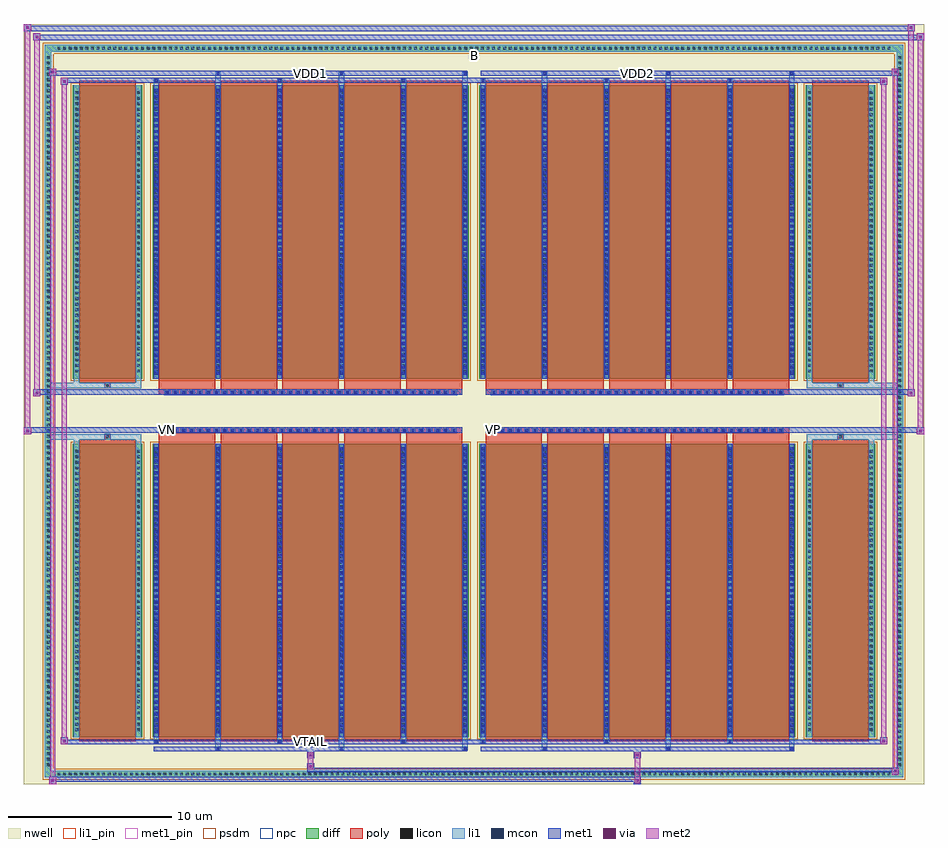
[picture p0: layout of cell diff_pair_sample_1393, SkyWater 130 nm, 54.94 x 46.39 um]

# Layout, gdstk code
import gdstk
lib = gdstk.Library(unit=1e-6, precision=5e-09)
def R(c, l, rs):  # rectangles x0, y0, x1, y1
    for r in rs: c.add(gdstk.rectangle(r[:2], r[2:], *l))
def A(c, l, x, y, w, h, nx, ny, dx, dy):  # array of equal rectangles
    R(c, l, [(x+i*dx, y+j*dy, x+i*dx+w, y+j*dy+h) for i in range(nx) for j in range(ny)])
def P(c, l, *ps):  # polygons
    for p in ps: c.add(gdstk.Polygon(p, *l))
nwell = (64, 20)
diff = (65, 20)
poly = (66, 20)
licon = (66, 44)
li1_pin = (67, 16)
li1 = (67, 20)
mcon = (67, 44)
met1_pin = (68, 16)
met1 = (68, 20)
via = (68, 44)
met2 = (69, 20)
psdm = (94, 20)
npc = (95, 20)

diff_pair_sample_1393 = lib.new_cell('diff_pair_sample_1393')
R(diff_pair_sample_1393, nwell, [(-27.47,-22.76,27.47,23.63), (-24.79,-20.95,-0.01,-0.795), (0.01,-20.95,24.79,-0.795), (-24.79,0.795,-0.01,20.95), (0.01,0.795,24.79,20.95)])
A(diff_pair_sample_1393, diff, -25.535, -22.36, 0.41, 0.41, 150, 2, 0.34, 44.31)
A(diff_pair_sample_1393, diff, -26.2, -21.795, 0.41, 0.41, 1, 128, 0, 0.34)
A(diff_pair_sample_1393, diff, 25.79, -21.795, 0.41, 0.41, 1, 128, 0, 0.34)
R(diff_pair_sample_1393, diff, [(-25.535,-22.36,25.535,-21.95), (-26.2,-21.795,-25.79,21.795), (25.79,-21.795,26.2,21.795), (-24.48,-19.905,-20.26,-1.985), (-19.62,-19.905,-0.32,-1.985), (0.32,-19.905,19.62,-1.985), (20.26,-19.905,24.48,-1.985), (-24.48,1.985,-20.26,19.905), (-19.62,1.985,-0.32,19.905), (0.32,1.985,19.62,19.905), (20.26,1.985,24.48,19.905), (-25.535,21.95,25.535,22.36)])
P(diff_pair_sample_1393, diff, [(26.2,22.36),(-26.2,22.36),(-26.2,-21.95),(-25.79,-21.95),(-25.79,21.95),(25.79,21.95),(25.79,-21.95),(-25.79,-21.95),(-26.2,-21.95),(-26.2,-22.36),(26.2,-22.36)])
A(diff_pair_sample_1393, poly, -19.23, -20.155, 3.44, 18.42, 5, 2, 3.77, 21.89)
A(diff_pair_sample_1393, poly, 0.71, -20.155, 3.44, 18.42, 5, 2, 3.77, 21.89)
A(diff_pair_sample_1393, poly, -19.23, -1.735, 3.44, 0.41, 5, 2, 3.77, 3.06)
A(diff_pair_sample_1393, poly, 0.71, -1.735, 3.44, 0.41, 5, 2, 3.77, 3.06)
A(diff_pair_sample_1393, poly, -18.885, -1.325, 0.33, 0.33, 36, 2, 0.5, 2.32)
A(diff_pair_sample_1393, poly, 1.055, -1.325, 0.33, 0.33, 36, 2, 0.5, 2.32)
R(diff_pair_sample_1393, poly, [(-24.09,-20.155,-20.65,-1.735), (20.65,-20.155,24.09,-1.735), (-22.535,-1.735,-22.205,-1.405), (-22.535,-1.735,-22.205,-1.405), (22.205,-1.735,22.535,-1.405), (22.205,-1.735,22.535,-1.405), (-19.23,-1.325,-0.71,-0.995), (0.71,-1.325,19.23,-0.995), (-19.23,0.995,-0.71,1.325), (0.71,0.995,19.23,1.325), (-22.535,1.405,-22.205,1.735), (-22.535,1.405,-22.205,1.735), (22.205,1.405,22.535,1.735), (22.205,1.405,22.535,1.735), (-24.09,1.735,-20.65,20.155), (20.65,1.735,24.09,20.155)])
A(diff_pair_sample_1393, licon, -25.415, -22.24, 0.17, 0.17, 150, 2, 0.34, 44.31)
A(diff_pair_sample_1393, licon, -26.08, -21.675, 0.17, 0.17, 1, 128, 0, 0.34)
A(diff_pair_sample_1393, licon, 25.91, -21.675, 0.17, 0.17, 1, 128, 0, 0.34)
A(diff_pair_sample_1393, licon, -24.34, -19.53, 0.17, 0.17, 1, 51, 0, 0.34)
A(diff_pair_sample_1393, licon, -20.57, -19.53, 0.17, 0.17, 1, 51, 0, 0.34)
A(diff_pair_sample_1393, licon, -19.48, -19.53, 0.17, 0.17, 6, 51, 3.77, 0.34)
A(diff_pair_sample_1393, licon, 0.46, -19.53, 0.17, 0.17, 6, 51, 3.77, 0.34)
A(diff_pair_sample_1393, licon, 20.4, -19.53, 0.17, 0.17, 1, 51, 0, 0.34)
A(diff_pair_sample_1393, licon, 24.17, -19.53, 0.17, 0.17, 1, 51, 0, 0.34)
A(diff_pair_sample_1393, licon, -18.805, -1.245, 0.17, 0.17, 36, 2, 0.5, 2.32)
A(diff_pair_sample_1393, licon, 1.135, -1.245, 0.17, 0.17, 36, 2, 0.5, 2.32)
A(diff_pair_sample_1393, licon, -24.34, 2.36, 0.17, 0.17, 1, 51, 0, 0.34)
A(diff_pair_sample_1393, licon, -20.57, 2.36, 0.17, 0.17, 1, 51, 0, 0.34)
A(diff_pair_sample_1393, licon, -19.48, 2.36, 0.17, 0.17, 6, 51, 3.77, 0.34)
A(diff_pair_sample_1393, licon, 0.46, 2.36, 0.17, 0.17, 6, 51, 3.77, 0.34)
A(diff_pair_sample_1393, licon, 20.4, 2.36, 0.17, 0.17, 1, 51, 0, 0.34)
A(diff_pair_sample_1393, licon, 24.17, 2.36, 0.17, 0.17, 1, 51, 0, 0.34)
R(diff_pair_sample_1393, licon, [(-22.455,-1.655,-22.285,-1.485), (22.285,-1.655,22.455,-1.485), (-22.455,1.485,-22.285,1.655), (22.285,1.485,22.455,1.655)])
R(diff_pair_sample_1393, li1_pin, [(-0.25,21.45,0.25,21.95)])
A(diff_pair_sample_1393, li1, -25.495, -22.32, 0.33, 0.33, 150, 2, 0.34, 44.31)
A(diff_pair_sample_1393, li1, -26.16, -21.755, 0.33, 0.33, 1, 128, 0, 0.34)
A(diff_pair_sample_1393, li1, 25.83, -21.755, 0.33, 0.33, 1, 128, 0, 0.34)
A(diff_pair_sample_1393, li1, -15.79, -20.71, 0.33, 0.805, 3, 2, 7.54, 40.615)
A(diff_pair_sample_1393, li1, -15.71, -20.71, 0.17, 0.17, 3, 2, 7.54, 41.25)
A(diff_pair_sample_1393, li1, 4.15, -20.71, 0.33, 0.805, 3, 2, 7.54, 40.615)
A(diff_pair_sample_1393, li1, 4.23, -20.71, 0.17, 0.17, 3, 2, 7.54, 41.25)
A(diff_pair_sample_1393, li1, -19.56, -20.28, 0.33, 0.375, 3, 2, 7.54, 40.185)
A(diff_pair_sample_1393, li1, -19.48, -20.28, 0.17, 0.17, 3, 2, 7.54, 40.39)
A(diff_pair_sample_1393, li1, 0.38, -20.28, 0.33, 0.375, 3, 2, 7.54, 40.185)
A(diff_pair_sample_1393, li1, 0.46, -20.28, 0.17, 0.17, 3, 2, 7.54, 40.39)
A(diff_pair_sample_1393, li1, -19.56, -19.905, 0.33, 17.92, 6, 2, 3.77, 21.89)
A(diff_pair_sample_1393, li1, 0.38, -19.905, 0.33, 17.92, 6, 2, 3.77, 21.89)
A(diff_pair_sample_1393, li1, -19.48, -19.67, 0.17, 0.17, 6, 49, 3.77, 0.36)
A(diff_pair_sample_1393, li1, -19.48, -19.67, 0.17, 17.45, 6, 2, 3.77, 21.89)
A(diff_pair_sample_1393, li1, 0.46, -19.67, 0.17, 0.17, 6, 49, 3.77, 0.36)
A(diff_pair_sample_1393, li1, 0.46, -19.67, 0.17, 17.45, 6, 2, 3.77, 21.89)
A(diff_pair_sample_1393, li1, -24.42, -19.61, 0.33, 0.33, 1, 51, 0, 0.34)
A(diff_pair_sample_1393, li1, -20.65, -19.61, 0.33, 0.33, 1, 51, 0, 0.34)
A(diff_pair_sample_1393, li1, -19.56, -19.61, 0.33, 0.33, 6, 51, 3.77, 0.34)
A(diff_pair_sample_1393, li1, 0.38, -19.61, 0.33, 0.33, 6, 51, 3.77, 0.34)
A(diff_pair_sample_1393, li1, 20.32, -19.61, 0.33, 0.33, 1, 51, 0, 0.34)
A(diff_pair_sample_1393, li1, 24.09, -19.61, 0.33, 0.33, 1, 51, 0, 0.34)
A(diff_pair_sample_1393, li1, -18.885, -1.325, 0.33, 0.33, 36, 2, 0.5, 2.32)
A(diff_pair_sample_1393, li1, 1.055, -1.325, 0.33, 0.33, 36, 2, 0.5, 2.32)
A(diff_pair_sample_1393, li1, -19.48, 2.22, 0.17, 0.17, 6, 49, 3.77, 0.36)
A(diff_pair_sample_1393, li1, 0.46, 2.22, 0.17, 0.17, 6, 49, 3.77, 0.36)
A(diff_pair_sample_1393, li1, -24.42, 2.28, 0.33, 0.33, 1, 51, 0, 0.34)
A(diff_pair_sample_1393, li1, -20.65, 2.28, 0.33, 0.33, 1, 51, 0, 0.34)
A(diff_pair_sample_1393, li1, -19.56, 2.28, 0.33, 0.33, 6, 51, 3.77, 0.34)
A(diff_pair_sample_1393, li1, 0.38, 2.28, 0.33, 0.33, 6, 51, 3.77, 0.34)
A(diff_pair_sample_1393, li1, 20.32, 2.28, 0.33, 0.33, 1, 51, 0, 0.34)
A(diff_pair_sample_1393, li1, 24.09, 2.28, 0.33, 0.33, 1, 51, 0, 0.34)
R(diff_pair_sample_1393, li1, [(-26.2,-22.36,-25.79,-21.95), (-26.2,-22.36,-25.79,-21.95), (-25.79,-22.36,25.79,-21.95), (25.79,-22.36,26.2,-21.95), (25.79,-22.36,26.2,-21.95), (-26.2,-21.95,-25.79,21.95), (25.79,-21.95,26.2,21.95), (-24.42,-19.905,-24.09,-1.985), (-20.65,-19.905,-20.32,-1.985), (20.32,-19.905,20.65,-1.985), (24.09,-19.905,24.42,-1.985), (-24.42,-1.985,-24.09,-1.405), (-20.65,-1.985,-20.32,-1.405), (20.32,-1.985,20.65,-1.405), (24.09,-1.985,24.42,-1.405), (-26.2,-1.735,-22.535,-1.405), (-24.42,-1.735,-22.535,-1.405), (-22.535,-1.735,-22.205,-1.405), (-22.205,-1.735,-20.32,-1.405), (20.32,-1.735,22.205,-1.405), (22.205,-1.735,22.535,-1.405), (22.205,-1.735,26.2,-1.405), (22.535,-1.735,24.42,-1.405), (-26.2,1.405,-22.535,1.735), (-24.42,1.405,-22.535,1.735), (-24.42,1.405,-24.09,1.985), (-22.535,1.405,-22.205,1.735), (-22.205,1.405,-20.32,1.735), (-20.65,1.405,-20.32,1.985), (20.32,1.405,22.205,1.735), (20.32,1.405,20.65,1.985), (22.205,1.405,22.535,1.735), (22.205,1.405,26.2,1.735), (22.535,1.405,24.42,1.735), (24.09,1.405,24.42,1.985), (-24.42,1.985,-24.09,19.905), (-20.65,1.985,-20.32,19.905), (20.32,1.985,20.65,19.905), (24.09,1.985,24.42,19.905), (-26.2,21.95,-25.79,22.36), (-26.2,21.95,-25.79,22.36), (-25.79,21.95,25.79,22.36), (25.79,21.95,26.2,22.36), (25.79,21.95,26.2,22.36)])
A(diff_pair_sample_1393, mcon, -15.71, -20.71, 0.17, 0.17, 3, 2, 7.54, 41.25)
A(diff_pair_sample_1393, mcon, 4.23, -20.71, 0.17, 0.17, 3, 2, 7.54, 41.25)
A(diff_pair_sample_1393, mcon, -19.48, -20.28, 0.17, 0.17, 3, 2, 7.54, 40.39)
A(diff_pair_sample_1393, mcon, 0.46, -20.28, 0.17, 0.17, 3, 2, 7.54, 40.39)
A(diff_pair_sample_1393, mcon, -19.48, -19.67, 0.17, 0.17, 6, 49, 3.77, 0.36)
A(diff_pair_sample_1393, mcon, 0.46, -19.67, 0.17, 0.17, 6, 49, 3.77, 0.36)
A(diff_pair_sample_1393, mcon, -18.805, -1.245, 0.17, 0.17, 36, 2, 0.5, 2.32)
A(diff_pair_sample_1393, mcon, 1.135, -1.245, 0.17, 0.17, 36, 2, 0.5, 2.32)
A(diff_pair_sample_1393, mcon, -19.48, 2.22, 0.17, 0.17, 6, 49, 3.77, 0.36)
A(diff_pair_sample_1393, mcon, 0.46, 2.22, 0.17, 0.17, 6, 49, 3.77, 0.36)
R(diff_pair_sample_1393, met1_pin, [(-10.105,-20.32,-9.835,-20.05), (-18.855,-1.285,-18.585,-1.015), (1.085,-1.285,1.355,-1.015), (-10.105,20.5,-9.835,20.77), (9.835,20.5,10.105,20.77)])
A(diff_pair_sample_1393, met1, -15.77, -20.77, 0.29, 0.29, 3, 2, 7.54, 41.25)
A(diff_pair_sample_1393, met1, 4.17, -20.77, 0.29, 0.29, 3, 2, 7.54, 41.25)
A(diff_pair_sample_1393, met1, -19.54, -20.34, 0.29, 0.29, 3, 2, 7.54, 40.39)
A(diff_pair_sample_1393, met1, 0.4, -20.34, 0.29, 0.29, 3, 2, 7.54, 40.39)
A(diff_pair_sample_1393, met1, -19.54, -19.905, 0.29, 17.92, 6, 2, 3.77, 21.89)
A(diff_pair_sample_1393, met1, 0.4, -19.905, 0.29, 17.92, 6, 2, 3.77, 21.89)
A(diff_pair_sample_1393, met1, -19.54, -19.73, 0.29, 0.29, 6, 49, 3.77, 0.36)
A(diff_pair_sample_1393, met1, 0.4, -19.73, 0.29, 0.29, 6, 49, 3.77, 0.36)
A(diff_pair_sample_1393, met1, -18.865, -1.305, 0.29, 0.29, 36, 2, 0.5, 2.32)
A(diff_pair_sample_1393, met1, 1.075, -1.305, 0.29, 0.29, 36, 2, 0.5, 2.32)
A(diff_pair_sample_1393, met1, -19.54, 2.16, 0.29, 0.29, 6, 49, 3.77, 0.36)
A(diff_pair_sample_1393, met1, 0.4, 2.16, 0.29, 0.29, 6, 49, 3.77, 0.36)
R(diff_pair_sample_1393, met1, [(-25.93,-22.76,-25.5,-22.33), (9.755,-22.76,10.185,-22.33), (-25.93,-22.62,10.185,-22.33), (25.5,-22.19,25.93,-21.76), (-10.185,-22.05,25.93,-21.76), (-10.185,-21.91,-9.755,-21.48), (-10.185,-21.2,-9.755,-20.77), (9.755,-21.2,10.185,-20.77), (-19.54,-20.77,-0.4,-20.48), (0.4,-20.77,19.54,-20.48), (-25.22,-20.34,-24.79,-19.91), (-25.22,-20.34,-19.54,-20.05), (-19.54,-20.34,-0.4,-20.05), (-0.4,-20.34,0.4,-20.05), (0.4,-20.34,19.54,-20.05), (19.54,-20.34,25.22,-20.05), (24.79,-20.34,25.22,-19.91), (-27.47,-1.425,-27.04,-0.995), (27.04,-1.425,27.47,-0.995), (-27.47,-1.325,-0.71,-0.995), (-19.23,-1.325,-0.71,-0.995), (0.71,-1.325,19.23,-0.995), (0.71,-1.325,27.47,-0.995), (-26.9,0.895,-26.47,1.325), (26.47,0.895,26.9,1.325), (-26.9,0.995,-19.23,1.325), (-19.23,0.995,-0.71,1.325), (0.71,0.995,19.23,1.325), (19.23,0.995,26.9,1.325), (-25.22,19.91,-24.79,20.34), (24.79,19.91,25.22,20.34), (-25.22,20.05,-19.54,20.34), (-19.54,20.05,-0.4,20.34), (-0.4,20.05,0.4,20.34), (0.4,20.05,19.54,20.34), (19.54,20.05,25.22,20.34), (-25.93,20.48,-25.5,20.91), (-25.93,20.48,-19.54,20.77), (-19.54,20.48,-0.4,20.77), (0.4,20.48,19.54,20.77), (19.54,20.48,25.93,20.77), (25.5,20.48,25.93,20.91), (-26.9,22.63,-26.47,23.06), (-26.9,22.63,-24.79,22.96), (-24.79,22.63,24.79,22.96), (24.79,22.63,27.47,22.96), (27.04,22.63,27.47,23.06), (-27.47,23.2,-27.04,23.63), (-27.47,23.2,-24.79,23.53), (-24.79,23.2,24.79,23.53), (24.79,23.2,26.9,23.53), (26.47,23.2,26.9,23.63)])
R(diff_pair_sample_1393, via, [(-25.79,-22.62,-25.64,-22.47), (9.895,-22.62,10.045,-22.47), (25.64,-22.05,25.79,-21.9), (-10.045,-21.77,-9.895,-21.62), (-10.045,-21.06,-9.895,-20.91), (9.895,-21.06,10.045,-20.91), (-25.08,-20.2,-24.93,-20.05), (24.93,-20.2,25.08,-20.05), (-27.33,-1.285,-27.18,-1.135), (27.18,-1.285,27.33,-1.135), (-26.76,1.035,-26.61,1.185), (26.61,1.035,26.76,1.185), (-25.08,20.05,-24.93,20.2), (24.93,20.05,25.08,20.2), (-25.79,20.62,-25.64,20.77), (25.64,20.62,25.79,20.77), (-26.76,22.77,-26.61,22.92), (27.18,22.77,27.33,22.92), (-27.33,23.34,-27.18,23.49), (26.61,23.34,26.76,23.49)])
R(diff_pair_sample_1393, met2, [(-25.93,-22.76,-25.5,-22.33), (-25.86,-22.76,-25.57,20.91), (-25.57,-22.76,-25.5,-22.33), (-25.88,-22.71,-25.55,-22.38), (9.805,-22.71,10.135,-22.38), (9.805,-22.38,10.135,-21.15), (25.5,-22.19,25.93,-21.76), (25.57,-22.19,25.86,20.91), (25.86,-22.19,25.93,-21.76), (25.55,-22.14,25.88,-21.81), (-10.135,-21.86,-9.805,-21.53), (-10.135,-21.53,-9.805,-21.15), (-10.135,-21.15,-9.805,-20.82), (9.805,-21.15,10.135,-20.82), (-25.22,-20.34,-24.79,-19.91), (-25.15,-20.34,-24.86,20.34), (-24.86,-20.34,-24.79,-19.91), (24.79,-20.34,25.22,-19.91), (24.86,-20.34,25.15,20.34), (25.15,-20.34,25.22,-19.91), (-25.17,-20.29,-24.84,-19.96), (24.84,-20.29,25.17,-19.96), (-27.47,-1.425,-27.04,-0.995), (-27.42,-1.425,-27.09,23.63), (-27.09,-1.425,-27.04,-0.995), (27.04,-1.425,27.47,-0.995), (27.09,-1.425,27.42,23.06), (27.42,-1.425,27.47,-0.995), (-27.42,-1.375,-27.09,-1.045), (27.09,-1.375,27.42,-1.045), (-26.9,0.895,-26.47,1.325), (-26.85,0.895,-26.52,23.06), (-26.52,0.895,-26.47,1.325), (26.47,0.895,26.9,1.325), (26.52,0.895,26.85,23.63), (26.85,0.895,26.9,1.325), (-26.85,0.945,-26.52,1.275), (26.52,0.945,26.85,1.275), (-25.22,19.91,-24.79,20.34), (-24.86,19.91,-24.79,20.34), (24.79,19.91,25.22,20.34), (25.15,19.91,25.22,20.34), (-25.17,19.96,-24.84,20.29), (24.84,19.96,25.17,20.29), (-25.93,20.48,-25.5,20.91), (-25.57,20.48,-25.5,20.91), (25.5,20.48,25.93,20.91), (25.86,20.48,25.93,20.91), (-25.88,20.53,-25.55,20.86), (25.55,20.53,25.88,20.86), (-26.9,22.63,-26.47,23.06), (-26.52,22.63,-26.47,23.06), (27.04,22.63,27.47,23.06), (27.42,22.63,27.47,23.06), (-26.85,22.68,-26.52,23.01), (27.09,22.68,27.42,23.01), (-27.47,23.2,-27.04,23.63), (-27.09,23.2,-27.04,23.63), (26.47,23.2,26.9,23.63), (26.85,23.2,26.9,23.63), (-27.42,23.25,-27.09,23.58), (26.52,23.25,26.85,23.58)])
R(diff_pair_sample_1393, psdm, [(-24.61,-20.035,-20.13,-1.855), (-19.75,-20.035,-0.19,-1.855), (0.19,-20.035,19.75,-1.855), (20.13,-20.035,24.61,-1.855), (-24.61,1.855,-20.13,20.035), (-19.75,1.855,-0.19,20.035), (0.19,1.855,19.75,20.035), (20.13,1.855,24.61,20.035)])
P(diff_pair_sample_1393, psdm, [(26.33,22.49),(-26.33,22.49),(-26.33,-21.82),(-25.66,-21.82),(-25.66,21.82),(25.66,21.82),(25.66,-21.82),(-25.66,-21.82),(-26.33,-21.82),(-26.33,-22.49),(26.33,-22.49)])
A(diff_pair_sample_1393, npc, -18.905, -1.345, 0.37, 0.37, 36, 2, 0.5, 2.32)
A(diff_pair_sample_1393, npc, 1.035, -1.345, 0.37, 0.37, 36, 2, 0.5, 2.32)
R(diff_pair_sample_1393, npc, [(-22.555,-1.755,-22.185,-1.385), (22.185,-1.755,22.555,-1.385), (-18.905,-1.345,-18.035,-0.975), (-18.905,-1.345,-18.035,-0.975), (-18.405,-1.345,-17.535,-0.975), (-18.405,-1.345,-17.535,-0.975), (-17.905,-1.345,-17.035,-0.975), (-17.905,-1.345,-17.035,-0.975), (-17.405,-1.345,-16.535,-0.975), (-17.405,-1.345,-16.535,-0.975), (-16.905,-1.345,-16.035,-0.975), (-16.905,-1.345,-16.035,-0.975), (-16.405,-1.345,-15.535,-0.975), (-16.405,-1.345,-15.535,-0.975), (-15.905,-1.345,-15.035,-0.975), (-15.905,-1.345,-15.035,-0.975), (-15.405,-1.345,-14.535,-0.975), (-15.405,-1.345,-14.535,-0.975), (-14.905,-1.345,-14.035,-0.975), (-14.905,-1.345,-14.035,-0.975), (-14.405,-1.345,-13.535,-0.975), (-14.405,-1.345,-13.535,-0.975), (-13.905,-1.345,-13.035,-0.975), (-13.905,-1.345,-13.035,-0.975), (-13.405,-1.345,-12.535,-0.975), (-13.405,-1.345,-12.535,-0.975), (-12.905,-1.345,-12.035,-0.975), (-12.905,-1.345,-12.035,-0.975), (-12.405,-1.345,-11.535,-0.975), (-12.405,-1.345,-11.535,-0.975), (-11.905,-1.345,-11.035,-0.975), (-11.905,-1.345,-11.035,-0.975), (-11.405,-1.345,-10.535,-0.975), (-11.405,-1.345,-10.535,-0.975), (-10.905,-1.345,-10.035,-0.975), (-10.905,-1.345,-10.035,-0.975), (-10.405,-1.345,-9.535,-0.975), (-10.405,-1.345,-9.535,-0.975), (-9.905,-1.345,-9.035,-0.975), (-9.905,-1.345,-9.035,-0.975), (-9.405,-1.345,-8.535,-0.975), (-9.405,-1.345,-8.535,-0.975), (-8.905,-1.345,-8.035,-0.975), (-8.905,-1.345,-8.035,-0.975), (-8.405,-1.345,-7.535,-0.975), (-8.405,-1.345,-7.535,-0.975), (-7.905,-1.345,-7.035,-0.975), (-7.905,-1.345,-7.035,-0.975), (-7.405,-1.345,-6.535,-0.975), (-7.405,-1.345,-6.535,-0.975), (-6.905,-1.345,-6.035,-0.975), (-6.905,-1.345,-6.035,-0.975), (-6.405,-1.345,-5.535,-0.975), (-6.405,-1.345,-5.535,-0.975), (-5.905,-1.345,-5.035,-0.975), (-5.905,-1.345,-5.035,-0.975), (-5.405,-1.345,-4.535,-0.975), (-5.405,-1.345,-4.535,-0.975), (-4.905,-1.345,-4.035,-0.975), (-4.905,-1.345,-4.035,-0.975), (-4.405,-1.345,-3.535,-0.975), (-4.405,-1.345,-3.535,-0.975), (-3.905,-1.345,-3.035,-0.975), (-3.905,-1.345,-3.035,-0.975), (-3.405,-1.345,-2.535,-0.975), (-3.405,-1.345,-2.535,-0.975), (-2.905,-1.345,-2.035,-0.975), (-2.905,-1.345,-2.035,-0.975), (-2.405,-1.345,-1.535,-0.975), (-2.405,-1.345,-1.535,-0.975), (-1.905,-1.345,-1.035,-0.975), (-1.905,-1.345,-1.035,-0.975), (1.035,-1.345,1.905,-0.975), (1.035,-1.345,1.905,-0.975), (1.535,-1.345,2.405,-0.975), (1.535,-1.345,2.405,-0.975), (2.035,-1.345,2.905,-0.975), (2.035,-1.345,2.905,-0.975), (2.535,-1.345,3.405,-0.975), (2.535,-1.345,3.405,-0.975), (3.035,-1.345,3.905,-0.975), (3.035,-1.345,3.905,-0.975), (3.535,-1.345,4.405,-0.975), (3.535,-1.345,4.405,-0.975), (4.035,-1.345,4.905,-0.975), (4.035,-1.345,4.905,-0.975), (4.535,-1.345,5.405,-0.975), (4.535,-1.345,5.405,-0.975), (5.035,-1.345,5.905,-0.975), (5.035,-1.345,5.905,-0.975), (5.535,-1.345,6.405,-0.975), (5.535,-1.345,6.405,-0.975), (6.035,-1.345,6.905,-0.975), (6.035,-1.345,6.905,-0.975), (6.535,-1.345,7.405,-0.975), (6.535,-1.345,7.405,-0.975), (7.035,-1.345,7.905,-0.975), (7.035,-1.345,7.905,-0.975), (7.535,-1.345,8.405,-0.975), (7.535,-1.345,8.405,-0.975), (8.035,-1.345,8.905,-0.975), (8.035,-1.345,8.905,-0.975), (8.535,-1.345,9.405,-0.975), (8.535,-1.345,9.405,-0.975), (9.035,-1.345,9.905,-0.975), (9.035,-1.345,9.905,-0.975), (9.535,-1.345,10.405,-0.975), (9.535,-1.345,10.405,-0.975), (10.035,-1.345,10.905,-0.975), (10.035,-1.345,10.905,-0.975), (10.535,-1.345,11.405,-0.975), (10.535,-1.345,11.405,-0.975), (11.035,-1.345,11.905,-0.975), (11.035,-1.345,11.905,-0.975), (11.535,-1.345,12.405,-0.975), (11.535,-1.345,12.405,-0.975), (12.035,-1.345,12.905,-0.975), (12.035,-1.345,12.905,-0.975), (12.535,-1.345,13.405,-0.975), (12.535,-1.345,13.405,-0.975), (13.035,-1.345,13.905,-0.975), (13.035,-1.345,13.905,-0.975), (13.535,-1.345,14.405,-0.975), (13.535,-1.345,14.405,-0.975), (14.035,-1.345,14.905,-0.975), (14.035,-1.345,14.905,-0.975), (14.535,-1.345,15.405,-0.975), (14.535,-1.345,15.405,-0.975), (15.035,-1.345,15.905,-0.975), (15.035,-1.345,15.905,-0.975), (15.535,-1.345,16.405,-0.975), (15.535,-1.345,16.405,-0.975), (16.035,-1.345,16.905,-0.975), (16.035,-1.345,16.905,-0.975), (16.535,-1.345,17.405,-0.975), (16.535,-1.345,17.405,-0.975), (17.035,-1.345,17.905,-0.975), (17.035,-1.345,17.905,-0.975), (17.535,-1.345,18.405,-0.975), (17.535,-1.345,18.405,-0.975), (18.035,-1.345,18.905,-0.975), (18.035,-1.345,18.905,-0.975), (-18.905,0.975,-18.035,1.345), (-18.905,0.975,-18.035,1.345), (-18.405,0.975,-17.535,1.345), (-18.405,0.975,-17.535,1.345), (-17.905,0.975,-17.035,1.345), (-17.905,0.975,-17.035,1.345), (-17.405,0.975,-16.535,1.345), (-17.405,0.975,-16.535,1.345), (-16.905,0.975,-16.035,1.345), (-16.905,0.975,-16.035,1.345), (-16.405,0.975,-15.535,1.345), (-16.405,0.975,-15.535,1.345), (-15.905,0.975,-15.035,1.345), (-15.905,0.975,-15.035,1.345), (-15.405,0.975,-14.535,1.345), (-15.405,0.975,-14.535,1.345), (-14.905,0.975,-14.035,1.345), (-14.905,0.975,-14.035,1.345), (-14.405,0.975,-13.535,1.345), (-14.405,0.975,-13.535,1.345), (-13.905,0.975,-13.035,1.345), (-13.905,0.975,-13.035,1.345), (-13.405,0.975,-12.535,1.345), (-13.405,0.975,-12.535,1.345), (-12.905,0.975,-12.035,1.345), (-12.905,0.975,-12.035,1.345), (-12.405,0.975,-11.535,1.345), (-12.405,0.975,-11.535,1.345), (-11.905,0.975,-11.035,1.345), (-11.905,0.975,-11.035,1.345), (-11.405,0.975,-10.535,1.345), (-11.405,0.975,-10.535,1.345), (-10.905,0.975,-10.035,1.345), (-10.905,0.975,-10.035,1.345), (-10.405,0.975,-9.535,1.345), (-10.405,0.975,-9.535,1.345), (-9.905,0.975,-9.035,1.345), (-9.905,0.975,-9.035,1.345), (-9.405,0.975,-8.535,1.345), (-9.405,0.975,-8.535,1.345), (-8.905,0.975,-8.035,1.345), (-8.905,0.975,-8.035,1.345), (-8.405,0.975,-7.535,1.345), (-8.405,0.975,-7.535,1.345), (-7.905,0.975,-7.035,1.345), (-7.905,0.975,-7.035,1.345), (-7.405,0.975,-6.535,1.345), (-7.405,0.975,-6.535,1.345), (-6.905,0.975,-6.035,1.345), (-6.905,0.975,-6.035,1.345), (-6.405,0.975,-5.535,1.345), (-6.405,0.975,-5.535,1.345), (-5.905,0.975,-5.035,1.345), (-5.905,0.975,-5.035,1.345), (-5.405,0.975,-4.535,1.345), (-5.405,0.975,-4.535,1.345), (-4.905,0.975,-4.035,1.345), (-4.905,0.975,-4.035,1.345), (-4.405,0.975,-3.535,1.345), (-4.405,0.975,-3.535,1.345), (-3.905,0.975,-3.035,1.345), (-3.905,0.975,-3.035,1.345), (-3.405,0.975,-2.535,1.345), (-3.405,0.975,-2.535,1.345), (-2.905,0.975,-2.035,1.345), (-2.905,0.975,-2.035,1.345), (-2.405,0.975,-1.535,1.345), (-2.405,0.975,-1.535,1.345), (-1.905,0.975,-1.035,1.345), (-1.905,0.975,-1.035,1.345), (1.035,0.975,1.905,1.345), (1.035,0.975,1.905,1.345), (1.535,0.975,2.405,1.345), (1.535,0.975,2.405,1.345), (2.035,0.975,2.905,1.345), (2.035,0.975,2.905,1.345), (2.535,0.975,3.405,1.345), (2.535,0.975,3.405,1.345), (3.035,0.975,3.905,1.345), (3.035,0.975,3.905,1.345), (3.535,0.975,4.405,1.345), (3.535,0.975,4.405,1.345), (4.035,0.975,4.905,1.345), (4.035,0.975,4.905,1.345), (4.535,0.975,5.405,1.345), (4.535,0.975,5.405,1.345), (5.035,0.975,5.905,1.345), (5.035,0.975,5.905,1.345), (5.535,0.975,6.405,1.345), (5.535,0.975,6.405,1.345), (6.035,0.975,6.905,1.345), (6.035,0.975,6.905,1.345), (6.535,0.975,7.405,1.345), (6.535,0.975,7.405,1.345), (7.035,0.975,7.905,1.345), (7.035,0.975,7.905,1.345), (7.535,0.975,8.405,1.345), (7.535,0.975,8.405,1.345), (8.035,0.975,8.905,1.345), (8.035,0.975,8.905,1.345), (8.535,0.975,9.405,1.345), (8.535,0.975,9.405,1.345), (9.035,0.975,9.905,1.345), (9.035,0.975,9.905,1.345), (9.535,0.975,10.405,1.345), (9.535,0.975,10.405,1.345), (10.035,0.975,10.905,1.345), (10.035,0.975,10.905,1.345), (10.535,0.975,11.405,1.345), (10.535,0.975,11.405,1.345), (11.035,0.975,11.905,1.345), (11.035,0.975,11.905,1.345), (11.535,0.975,12.405,1.345), (11.535,0.975,12.405,1.345), (12.035,0.975,12.905,1.345), (12.035,0.975,12.905,1.345), (12.535,0.975,13.405,1.345), (12.535,0.975,13.405,1.345), (13.035,0.975,13.905,1.345), (13.035,0.975,13.905,1.345), (13.535,0.975,14.405,1.345), (13.535,0.975,14.405,1.345), (14.035,0.975,14.905,1.345), (14.035,0.975,14.905,1.345), (14.535,0.975,15.405,1.345), (14.535,0.975,15.405,1.345), (15.035,0.975,15.905,1.345), (15.035,0.975,15.905,1.345), (15.535,0.975,16.405,1.345), (15.535,0.975,16.405,1.345), (16.035,0.975,16.905,1.345), (16.035,0.975,16.905,1.345), (16.535,0.975,17.405,1.345), (16.535,0.975,17.405,1.345), (17.035,0.975,17.905,1.345), (17.035,0.975,17.905,1.345), (17.535,0.975,18.405,1.345), (17.535,0.975,18.405,1.345), (18.035,0.975,18.905,1.345), (18.035,0.975,18.905,1.345), (-22.555,1.385,-22.185,1.755), (22.185,1.385,22.555,1.755)])
diff_pair_sample_1393.add(gdstk.Label('VTAIL', (-9.97,-20.185), layer=68, texttype=5))
diff_pair_sample_1393.add(gdstk.Label('VN', (-18.72,-1.15), layer=68, texttype=5))
diff_pair_sample_1393.add(gdstk.Label('VP', (1.22,-1.15), layer=68, texttype=5))
diff_pair_sample_1393.add(gdstk.Label('B', (0,21.7), layer=67, texttype=5))
diff_pair_sample_1393.add(gdstk.Label('VDD2', (9.97,20.635), layer=68, texttype=5))
diff_pair_sample_1393.add(gdstk.Label('VDD1', (-9.97,20.635), layer=68, texttype=5))

lib.write_gds('diff_pair_sample_1393.gds')
